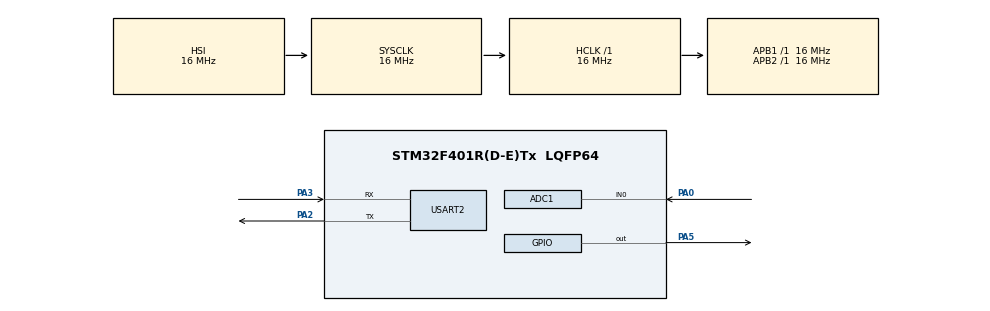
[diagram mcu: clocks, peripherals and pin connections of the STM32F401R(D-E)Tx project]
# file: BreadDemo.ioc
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ADC1.Channel-3\#ChannelRegularConversion=ADC_CHANNEL_0
ADC1.ContinuousConvMode=ENABLE
ADC1.NbrOfConversionFlag=1
ADC1.Rank-3\#ChannelRegularConversion=1
ADC1.SamplingTime-3\#ChannelRegularConversion=ADC_SAMPLETIME_3CYCLES
ADC1.master=1
Mcu.Family=STM32F4
Mcu.Name=STM32F401R(D-E)Tx
Mcu.Package=LQFP64
NVIC.PriorityGroup=NVIC_PRIORITYGROUP_4
PA0-WKUP.Signal=ADCx_IN0
PA2.Mode=Asynchronous
PA2.Signal=USART2_TX
PA3.Mode=Asynchronous
PA3.Signal=USART2_RX
PA5.Signal=GPIO_Output
ProjectManager.HeapSize=0x200
ProjectManager.StackSize=0x400
ProjectManager.TargetToolchain=STM32CubeIDE
RCC.AHBFreq_Value=16000000
RCC.APB1Freq_Value=16000000
RCC.APB2Freq_Value=16000000
RCC.CortexFreq_Value=16000000
RCC.HSE_VALUE=25000000
RCC.HSI_VALUE=16000000
RCC.LSE_VALUE=32768
RCC.SYSCLKFreq_VALUE=16000000
RCC.VCOOutputFreq_Value=192000000
SH.ADCx_IN0.0=ADC1_IN0,IN0
USART2.VirtualMode=VM_ASYNC
board=custom

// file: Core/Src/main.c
/* USER CODE BEGIN Header */
/**
  ******************************************************************************
  * @file           : main.c
  * @brief          : Main program body
  ******************************************************************************
  * @attention
  *
  * Copyright (c) 2026 STMicroelectronics.
  * All rights reserved.
  *
  * This software is licensed under terms that can be found in the LICENSE file
  * in the root directory of this software component.
  * If no LICENSE file comes with this software, it is provided AS-IS.
  *
  ******************************************************************************
  */
/* USER CODE END Header */
#include "main.h"

/* USER CODE BEGIN PD */
#define SHUNT_RESISTOR  0.001f  /* 0.001 Ohm shunt resistor in series with battery */
/* USER CODE END PD */

ADC_HandleTypeDef hadc1;

UART_HandleTypeDef huart2;

/* USER CODE BEGIN PV */
VoltageDetector_t voltage_detector;

/* USER CODE END PV */

void SystemClock_Config(void);
static void MX_GPIO_Init(void);
static void MX_ADC1_Init(void);
static void MX_USART2_UART_Init(void);

/* USER CODE BEGIN 0 */

/**
 * @brief Calculate coulombs (charge) from voltage across shunt resistor
 * @param shunt_voltage Voltage measured across shunt resistor (V)
 * @param shunt_resistance Shunt resistor value (Ohms)
 * @param sample_interval Time between samples (seconds)
 * @return Charge in coulombs
 */
float CoulombCounter_CalculateCharge(float shunt_voltage, float shunt_resistance, float sample_interval)
{
    /* Calculate current using Ohm's law: I = V/R */
    float current = shunt_voltage / shunt_resistance /50;

    /* Calculate charge: Q = I * t (coulombs = amps * seconds) */
    float charge = current * sample_interval;

    return charge;
}

/* USER CODE END 0 */

int main(void)
{

  /* MCU Configuration--------------------------------------------------------*/

  /* Reset of all peripherals, Initializes the Flash interface and the Systick. */
  HAL_Init();

  /* Configure the system clock */
  SystemClock_Config();

  /* Initialize all configured peripherals */
  MX_GPIO_Init();
  MX_ADC1_Init();
  MX_USART2_UART_Init();
  /* USER CODE BEGIN 2 */
  VoltageDetector_Init(&voltage_detector);
  VoltageDetector_Start(&voltage_detector);
  printf("ADC Initialized - Reading PA0...\r\n");

  float overall_charge = 0.0f;

  /* USER CODE END 2 */

  /* Infinite loop */
  while (1)
  {

    /* USER CODE BEGIN 3 */
    uint32_t raw = VoltageDetector_GetRawValue(&voltage_detector);
    float voltage = VoltageDetector_GetVoltage(&voltage_detector);
    VoltageDetector_UpdateSampleCount(&voltage_detector);

    // Debug: Manual voltage calculation to verify ADC is working
    float manual_voltage = raw * 3.3f / 4095.0f;

    // Convert to integer millivolts for printing (float printf not supported)
    uint32_t voltage_mv = (uint32_t)(voltage * 1000);
    uint32_t debug_mv = (uint32_t)(manual_voltage * 1000);

    // Calculate charge based on voltage across shunt resistor
    overall_charge += CoulombCounter_CalculateCharge(voltage, SHUNT_RESISTOR, 0.1f); // 0.1s sample interval

    uint32_t charge_mC = (uint32_t)(overall_charge * 1000); // Convert to milliCoulombs for printing
    uint32_t charge_int = charge_mC / 1000; // Integer part of charge in Coulombs
    uint32_t charge_frac = charge_mC % 1000; // Fractional part

    printf("Raw: %4lu | Voltage: %u.%03u V | Samples: %lu | Debug: %u.%03u V | Charge %u.%03u C\r\n",
           raw, voltage_mv / 1000, voltage_mv % 1000,
           voltage_detector.sample_count, debug_mv / 1000, debug_mv % 1000, charge_int, charge_frac);

    // 10Hz
    HAL_Delay(100);
  }
  /* USER CODE END 3 */
}

void SystemClock_Config(void)
{
  RCC_OscInitTypeDef RCC_OscInitStruct = {0};
  RCC_ClkInitTypeDef RCC_ClkInitStruct = {0};

  /** Configure the main internal regulator output voltage
  */
  __HAL_RCC_PWR_CLK_ENABLE();
  __HAL_PWR_VOLTAGESCALING_CONFIG(PWR_REGULATOR_VOLTAGE_SCALE2);

  /** Initializes the RCC Oscillators according to the specified parameters
  * in the RCC_OscInitTypeDef structure.
  */
  RCC_OscInitStruct.OscillatorType = RCC_OSCILLATORTYPE_HSI;
  RCC_OscInitStruct.HSIState = RCC_HSI_ON;
  RCC_OscInitStruct.HSICalibrationValue = RCC_HSICALIBRATION_DEFAULT;
  RCC_OscInitStruct.PLL.PLLState = RCC_PLL_NONE;
  if (HAL_RCC_OscConfig(&RCC_OscInitStruct) != HAL_OK)
  {
    Error_Handler();
  }

  /** Initializes the CPU, AHB and APB buses clocks
  */
  RCC_ClkInitStruct.ClockType = RCC_CLOCKTYPE_HCLK|RCC_CLOCKTYPE_SYSCLK
                              |RCC_CLOCKTYPE_PCLK1|RCC_CLOCKTYPE_PCLK2;
  RCC_ClkInitStruct.SYSCLKSource = RCC_SYSCLKSOURCE_HSI;
  RCC_ClkInitStruct.AHBCLKDivider = RCC_SYSCLK_DIV1;
  RCC_ClkInitStruct.APB1CLKDivider = RCC_HCLK_DIV1;
  RCC_ClkInitStruct.APB2CLKDivider = RCC_HCLK_DIV1;

  if (HAL_RCC_ClockConfig(&RCC_ClkInitStruct, FLASH_LATENCY_0) != HAL_OK)
  {
    Error_Handler();
  }
}

static void MX_ADC1_Init(void)
{

  ADC_ChannelConfTypeDef sConfig = {0};

  /** Configure the global features of the ADC (Clock, Resolution, Data Alignment and number of conversion)
  */
  hadc1.Instance = ADC1;
  hadc1.Init.ClockPrescaler = ADC_CLOCK_SYNC_PCLK_DIV2;
  hadc1.Init.Resolution = ADC_RESOLUTION_12B;
  hadc1.Init.ScanConvMode = DISABLE;
  hadc1.Init.ContinuousConvMode = ENABLE;
  hadc1.Init.DiscontinuousConvMode = DISABLE;
  hadc1.Init.ExternalTrigConvEdge = ADC_EXTERNALTRIGCONVEDGE_NONE;
  hadc1.Init.ExternalTrigConv = ADC_SOFTWARE_START;
  hadc1.Init.DataAlign = ADC_DATAALIGN_RIGHT;
  hadc1.Init.NbrOfConversion = 1;
  hadc1.Init.DMAContinuousRequests = DISABLE;
  hadc1.Init.EOCSelection = ADC_EOC_SINGLE_CONV;
  if (HAL_ADC_Init(&hadc1) != HAL_OK)
  {
    Error_Handler();
  }

  /** Configure for the selected ADC regular channel its corresponding rank in the sequencer and its sample time.
  */
  sConfig.Channel = ADC_CHANNEL_0;
  sConfig.Rank = 1;
  sConfig.SamplingTime = ADC_SAMPLETIME_3CYCLES;
  if (HAL_ADC_ConfigChannel(&hadc1, &sConfig) != HAL_OK)
  {
    Error_Handler();
  }

}

static void MX_USART2_UART_Init(void)
{

  huart2.Instance = USART2;
  huart2.Init.BaudRate = 115200;
  huart2.Init.WordLength = UART_WORDLENGTH_8B;
  huart2.Init.StopBits = UART_STOPBITS_1;
  huart2.Init.Parity = UART_PARITY_NONE;
  huart2.Init.Mode = UART_MODE_TX_RX;
  huart2.Init.HwFlowCtl = UART_HWCONTROL_NONE;
  huart2.Init.OverSampling = UART_OVERSAMPLING_16;
  if (HAL_UART_Init(&huart2) != HAL_OK)
  {
    Error_Handler();
  }

}

static void MX_GPIO_Init(void)
{
  GPIO_InitTypeDef GPIO_InitStruct = {0};

  /* GPIO Ports Clock Enable */
  __HAL_RCC_GPIOA_CLK_ENABLE();

  /*Configure GPIO pin Output Level */
  HAL_GPIO_WritePin(GPIOA, GPIO_PIN_5, GPIO_PIN_RESET);

  /*Configure GPIO pin : PA5 */
  GPIO_InitStruct.Pin = GPIO_PIN_5;
  GPIO_InitStruct.Mode = GPIO_MODE_OUTPUT_PP;
  GPIO_InitStruct.Pull = GPIO_NOPULL;
  GPIO_InitStruct.Speed = GPIO_SPEED_FREQ_LOW;
  HAL_GPIO_Init(GPIOA, &GPIO_InitStruct);

}

/* USER CODE BEGIN 4 */

// for UART debugging
 int _write(int file, char *ptr, int len) {
     HAL_UART_Transmit(&huart2, (uint8_t *)ptr, len, HAL_MAX_DELAY);
     return len;
 }

 int _read(int file, char *ptr, int len) {
     HAL_UART_Receive(&huart2, (uint8_t *)ptr, len, HAL_MAX_DELAY);
     return len;
 }

/* USER CODE END 4 */

void Error_Handler(void)
{
  __disable_irq();
  while (1)
  {
  }
}
